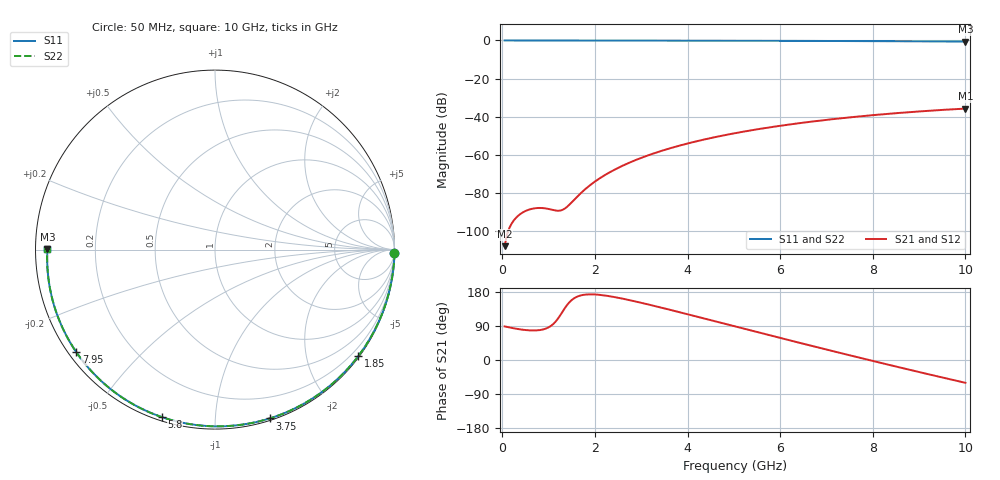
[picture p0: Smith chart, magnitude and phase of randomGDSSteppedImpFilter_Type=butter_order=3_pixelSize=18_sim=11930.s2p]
! freq	dB(S11)	phase(S11)	dB(S12)	phase(S12)
!  dB(S21)	phase(S21)	dB(S22)	phase(S22)
!S-par simulation data
#  GHz  S  DB  R 50
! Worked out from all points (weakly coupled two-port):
!   200 points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, 50 MHz to 10 GHz, reference 50 ohm
!   highest |S21| = -35.80 dB at 10 GHz (marker M1); lowest = -108.1 dB at 50 MHz (marker M2)
!   lowest |S11| = -0.6 dB at 10 GHz (marker M3), VSWR 29.24, Z = 1.71 + j0.0958 ohm
!   |S11| at or under -10 dB: nowhere
!   |S22| runs from -0.6 to 0.0 dB; largest |S21 - S12| = 0
!   S11 on the Smith chart (normalised r, x): 50 MHz: open; 1.85 GHz: 0.03, -3.03; 3.75 GHz: 0.02, -1.38; 5.8 GHz: 0.02, -0.73; 7.95 GHz: 0.02, -0.33; 10 GHz: 0.03, +0.00
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0.05  -0.00 -1.0  -108.09 88.7  -108.09 88.7  -0.00 -1.0
0.45  -0.01 -9.0  -90.25 79.8  -90.25 79.8  -0.01 -9.0
0.85  -0.02 -17.0  -88.03 79.8  -88.03 79.8  -0.02 -17.0
1.25  -0.03 -24.9  -89.40 117.7  -89.40 117.7  -0.03 -24.9
1.7  -0.04 -33.7  -80.13 170.6  -80.13 170.6  -0.04 -33.7
1.75  -0.04 -34.6  -79.01 171.9  -79.01 171.9  -0.04 -34.6
1.85  -0.05 -36.6  -76.93 173.1  -76.93 173.1  -0.05 -36.6
2  -0.05 -39.5  -74.16 173.0  -74.16 173.0  -0.05 -39.5
2.15  -0.05 -42.3  -71.72 171.2  -71.72 171.2  -0.05 -42.3
2.5  -0.06 -49.0  -66.97 164.2  -66.97 164.2  -0.06 -49.0
2.9  -0.07 -56.5  -62.64 153.8  -62.64 153.8  -0.07 -56.5
3.4  -0.09 -65.7  -58.31 139.2  -58.31 139.2  -0.09 -65.7
3.75  -0.10 -72.0  -55.77 128.5  -55.77 128.5  -0.10 -72.0
4.4  -0.12 -83.6  -51.82 108.3  -51.82 108.3  -0.12 -83.6
5.05  -0.15 -94.8  -48.61 87.9  -48.61 87.9  -0.15 -94.8
5.8  -0.18 -107.6  -45.56 64.5  -45.56 64.5  -0.18 -107.6
6.7  -0.24 -122.6  -42.59 36.7  -42.59 36.7  -0.24 -122.6
7.3  -0.29 -132.6  -40.92 18.5  -40.92 18.5  -0.29 -132.6
7.95  -0.35 -143.5  -39.37 -1.0  -39.37 -1.0  -0.35 -143.5
8.35  -0.39 -150.3  -38.52 -12.8  -38.52 -12.8  -0.39 -150.3
9.2  -0.48 -165.2  -36.97 -37.5  -36.97 -37.5  -0.48 -165.3
10  -0.59 179.8  -35.80 -60.2  -35.80 -60.2  -0.59 179.8
